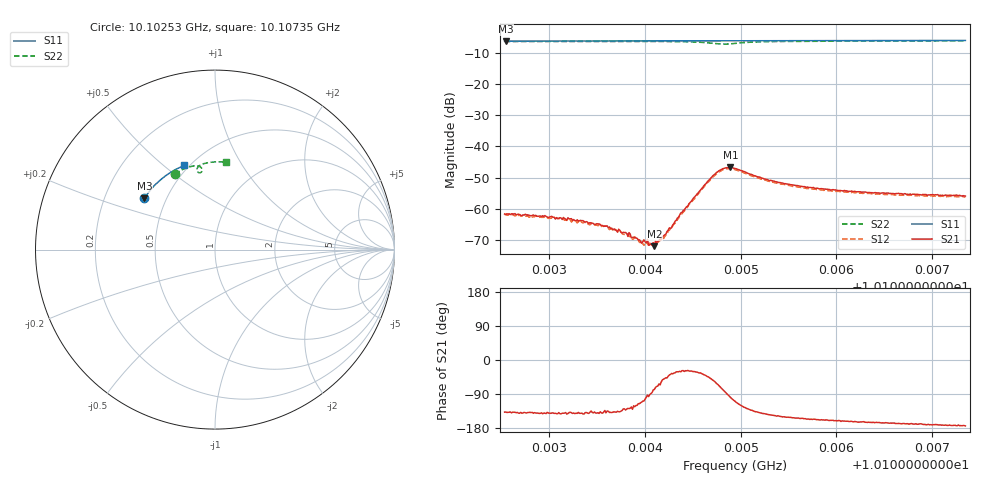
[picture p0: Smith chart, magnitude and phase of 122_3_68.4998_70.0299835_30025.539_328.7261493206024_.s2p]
#  HZ  S  RI  R  50.00
! Rohde & Schwarz Vector Network Analyzer
! Rohde-Schwarz,ZNB20-2Port,1311601062101988,3.16
! Created: UTC 3/20/2024, 4:54:01 PM
! freq[Hz]  re:S11  im:S11  re:S21  im:S21  re:S12  im:S12  re:S22  im:S22
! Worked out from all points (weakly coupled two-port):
!   401 points, 10.10253 GHz to 10.10735 GHz, reference 50 ohm
!   highest |S21| = -46.68 dB at 10.10489 GHz (marker M1); lowest = -71.9 dB at 10.1041 GHz (marker M2)
!   lowest |S11| = -6.3 dB at 10.10254 GHz (marker M3), VSWR 2.90, Z = 18.8 + j14.2 ohm
!   |S11| at or under -10 dB: nowhere
!   |S22| runs from -7.2 to -6.2 dB; largest |S21 - S12| = 0.00049
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1.0102531e10  -0.394 0.2861  -0.000612 -0.000559  -0.000557 -0.000573  -0.2254 0.4232
1.0102543e10  -0.3935 0.2867  -0.000596 -0.000551  -0.000558 -0.000603  -0.2248 0.4235
1.0103049e10  -0.3759 0.3118  -0.000574 -0.000465  -0.000512 -0.000509  -0.1951 0.4393
1.0103338e10  -0.3649 0.3258  -0.000496 -0.000415  -0.000431 -0.000431  -0.1775 0.4474
1.0103579e10  -0.3557 0.337  -0.000364 -0.000388  -0.000384 -0.000371  -0.1622 0.4537
1.010382e10  -0.3458 0.3481  -0.000222 -0.000287  -0.000211 -0.000337  -0.1459 0.4594
1.0103904e10  -0.3425 0.3517  -0.000171 -0.000295  -0.000132 -0.000308  -0.14 0.4612
1.0103964e10  -0.3398 0.3544  -0.000101 -0.000264  -9.71e-05 -0.000295  -0.1356 0.4623
1.0104e10  -0.3384 0.356  -6.61e-05 -0.00029  -4.79e-05 -0.000277  -0.1328 0.463
1.010406e10  -0.3358 0.3586  6.67e-06 -0.000275  3.89e-05 -0.000278  -0.1284 0.4641
1.0104097e10  -0.3343 0.3602  5.42e-05 -0.000247  7.77e-05 -0.000253  -0.1257 0.4647
1.0104145e10  -0.3323 0.3622  0.000142 -0.000278  0.000162 -0.000258  -0.1219 0.4653
1.0104217e10  -0.3292 0.3653  0.000271 -0.000288  0.000279 -0.000258  -0.1159 0.4663
1.0104373e10  -0.3222 0.3719  0.000742 -0.000447  0.00075 -0.00032  -0.1016 0.4668
1.0104687e10  -0.3081 0.3845  0.00204 -0.00235  0.00215 -0.00208  -0.0717 0.4469
1.0104795e10  -0.3031 0.3888  0.00119 -0.00411  0.00147 -0.00382  -0.0779 0.4302
1.0104891e10  -0.299 0.3924  -0.000705 -0.00458  -0.000248 -0.0044  -0.0943 0.4307
1.0104939e10  -0.2965 0.3945  -0.00142 -0.0042  -0.00104 -0.00415  -0.0991 0.437
1.0105277e10  -0.2807 0.4072  -0.00238 -0.00175  -0.00212 -0.00187  -0.0832 0.4701
1.0105746e10  -0.2574 0.4235  -0.00201 -0.000852  -0.00183 -0.000991  -0.0473 0.4828
1.0106553e10  -0.2153 0.4486  -0.00172 -0.000404  -0.00161 -0.000563  0.00795 0.4888
1.0107348e10  -0.1717 0.4688  -0.0016 -0.000172  -0.00151 -0.000314  0.0601 0.4874
